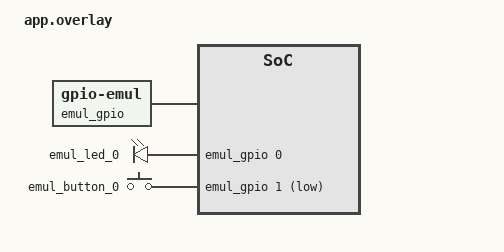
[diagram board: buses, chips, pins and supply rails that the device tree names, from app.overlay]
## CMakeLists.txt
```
# Unlike tests/unit, links the app's real blinky.c unchanged. Only app.overlay
# differs: the test swaps the pins, not the code.

cmake_minimum_required(VERSION 3.20.0)

find_package(Zephyr REQUIRED HINTS $ENV{ZEPHYR_BASE})
project(blinky_emul)

target_sources(app PRIVATE
    ${CMAKE_CURRENT_SOURCE_DIR}/src/main.c
    ${CMAKE_CURRENT_SOURCE_DIR}/../../src/blinky.c
    ${CMAKE_CURRENT_SOURCE_DIR}/../../src/blink_logic.c
)

target_include_directories(app PRIVATE
    ${CMAKE_CURRENT_SOURCE_DIR}/../../src
)
```

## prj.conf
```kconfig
CONFIG_ZTEST=y
CONFIG_PRINTK=y
CONFIG_GPIO=y

# Emulated GPIO controller. Already implied by the node in app.overlay,
# set here so the suite's dependencies are visible in one place.
CONFIG_GPIO_EMUL=y
```

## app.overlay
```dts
/* Test-only overlay: an emulated GPIO controller, LED and button, with led0
 * and sw0 pointed at them. src/blinky.c binds the aliases unchanged.
 */

#include <zephyr/dt-bindings/gpio/gpio.h>
#include <zephyr/dt-bindings/input/input-event-codes.h>

/ {
    emul_gpio: gpio_emul {
        compatible = "zephyr,gpio-emul";
        status = "okay";
        gpio-controller;
        #gpio-cells = <2>;
        ngpios = <4>;
        interrupt-controller;
        #interrupt-cells = <2>;
        rising-edge;
        falling-edge;
        high-level;
        low-level;
    };

    emul_leds {
        compatible = "gpio-leds";
        emul_led_0: emul_led_0 {
            gpios = <&emul_gpio 0 GPIO_ACTIVE_HIGH>;
        };
    };

    emul_keys {
        compatible = "gpio-keys";
        emul_button_0: emul_button_0 {
            gpios = <&emul_gpio 1 (GPIO_PULL_UP | GPIO_ACTIVE_LOW)>;
            zephyr,code = <INPUT_KEY_0>;
        };
    };

    /* Both aliases move. Rerouting only one leaves its partner on native_sim's own
     * &gpio0, a controller never initialised, and the first access crashes with SIGSEGV. */
    aliases {
        led0 = &emul_led_0;
        sw0 = &emul_button_0;
    };
};
```

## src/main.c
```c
// Same five presses as tests/unit, but through the real GPIO driver, interrupt
// callback and blinky.c. Only the controller underneath is emulated.

#include <zephyr/ztest.h>
#include <zephyr/device.h>
#include <zephyr/drivers/gpio.h>
#include <zephyr/drivers/gpio/gpio_emul.h>

#include "blinky.h"

/* Same aliases the application binds. */
static const struct gpio_dt_spec led = GPIO_DT_SPEC_GET(DT_ALIAS(led0), gpios);
static const struct gpio_dt_spec button = GPIO_DT_SPEC_GET(DT_ALIAS(sw0), gpios);

/* The button is GPIO_ACTIVE_LOW, so "pressed" is a raw 0. Reading the devicetree
 * flags instead of hardcoding keeps the test correct if the overlay flips polarity. */
static inline int pressed_raw_level(void)
{
    return (button.dt_flags & GPIO_ACTIVE_LOW) ? 0 : 1;
}

static void press_button(void)
{
    const int pressed = pressed_raw_level();

    gpio_emul_input_set(button.port, button.pin, pressed);
    k_sleep(K_MSEC(20));

    gpio_emul_input_set(button.port, button.pin, !pressed);
    k_sleep(K_MSEC(20));
}

static int led_level(void)
{
    /* Raw pin level. The LED is GPIO_ACTIVE_HIGH, so 1 means lit. */
    return gpio_emul_output_get(led.port, led.pin);
}

/* Runs once before the suite, not as a per-test `before` hook. gpio_emul fires
 * registered callbacks from pin_configure(), so re-running blinky_init()
 * between tests would look like a phantom button press. */
static void *emul_setup(void)
{
    zassert_ok(blinky_init(), "blinky_init() failed against the emulated pins");
    return NULL;
}

ZTEST_SUITE(blink_emul, NULL, emul_setup, NULL, NULL, NULL);

ZTEST(blink_emul, test_presses_toggle_the_led)
{
    /* Same expected states as tests/unit, read back from a pin instead of a return value. */
    static const int expected[] = {1, 0, 1, 0, 1};

    zassert_equal(led_level(), 0, "LED should be off before the first press");

    for (int press = 0; press < ARRAY_SIZE(expected); press++) {
        press_button();

        TC_PRINT("press %d: LED level %d\n", press + 1, led_level());

        zassert_equal(led_level(), expected[press],
                      "press %d: expected LED level %d, got %d",
                      press + 1, expected[press], led_level());
    }
}
```
